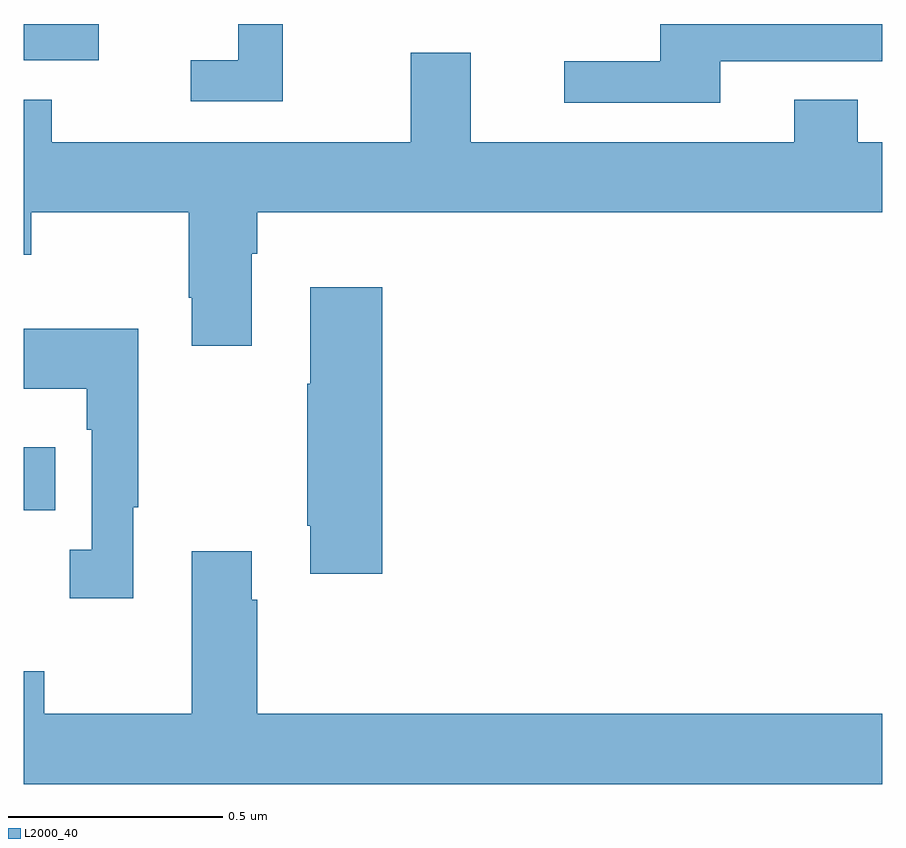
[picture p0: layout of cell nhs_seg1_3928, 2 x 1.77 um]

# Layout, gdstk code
import gdstk
lib = gdstk.Library(unit=1e-6, precision=1e-09)
def R(c, l, rs):  # rectangles x0, y0, x1, y1
    for r in rs: c.add(gdstk.rectangle(r[:2], r[2:], *l))
def P(c, l, *ps):  # polygons
    for p in ps: c.add(gdstk.Polygon(p, *l))
L2000_40 = (2000, 40)

nhs_seg1_3928 = lib.new_cell('nhs_seg1_3928')
R(nhs_seg1_3928, L2000_40, [(160,523.066,160.073,523.213), (160,524.114,160.174,524.199)])
P(nhs_seg1_3928, L2000_40, [(160.603,524.199),(160.499,524.199),(160.499,524.115),(160.389,524.115),(160.389,524.019),(160.603,524.019)],
  [(161.623,524.112),(162,524.112),(162,524.199),(161.483,524.199),(161.483,524.112),(161.259,524.112),(161.259,524.016),(161.623,524.016)],
  [(160.531,523.664),(160.544,523.664),(160.544,523.76),(162,523.76),(162,523.924),(161.943,523.924),(161.943,524.023),(161.795,524.023),(161.795,523.924),(161.041,523.924),(161.041,524.132),(160.901,524.132),(160.901,523.924),(160.065,523.924),(160.065,524.023),(160,524.023),(160,523.661),(160.017,523.661),(160.017,523.76),(160.384,523.76),(160.384,523.561),(160.391,523.561),(160.391,523.449),(160.531,523.449)],
  [(160.835,523.585),(160.667,523.585),(160.667,523.361),(160.66,523.361),(160.66,523.03),(160.667,523.03),(160.667,522.918),(160.835,522.918)],
  [(160.255,523.073),(160.267,523.073),(160.267,523.489),(160,523.489),(160,523.349),(160.146,523.349),(160.146,523.253),(160.158,523.253),(160.158,522.974),(160.107,522.974),(160.107,522.861),(160.255,522.861)],
  [(162,522.592),(160.544,522.592),(160.544,522.857),(160.531,522.857),(160.531,522.97),(160.391,522.97),(160.391,522.592),(160.047,522.592),(160.047,522.691),(160,522.691),(160,522.428),(162,522.428)])

lib.write_gds('nhs_seg1_3928.gds')
